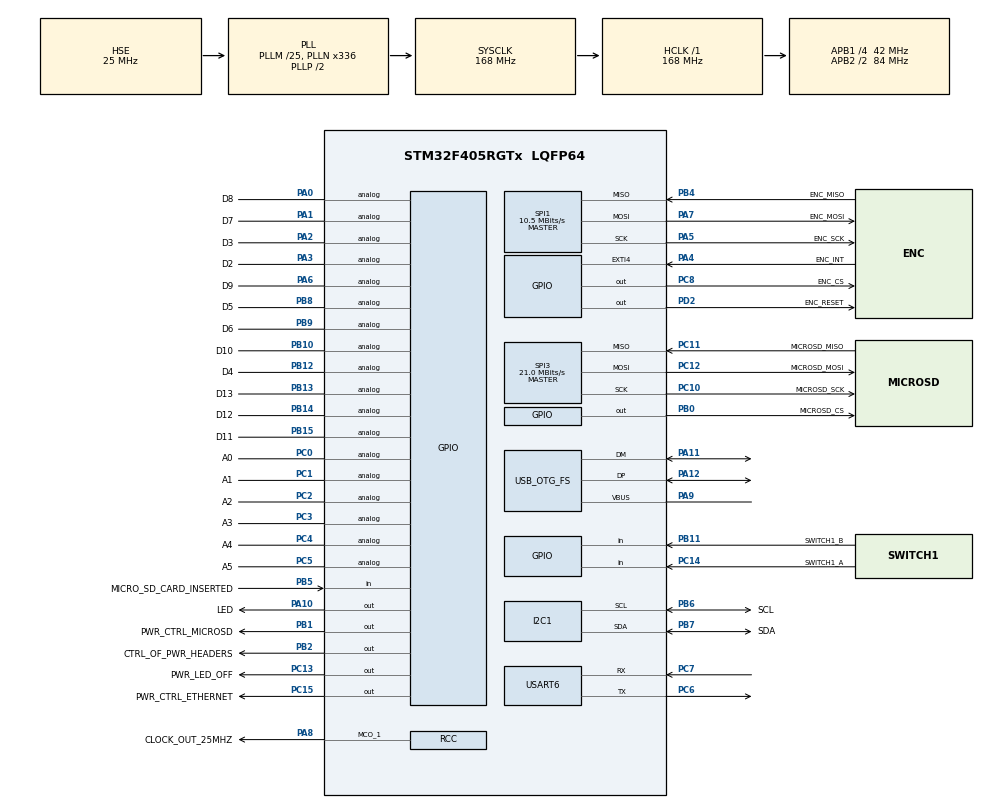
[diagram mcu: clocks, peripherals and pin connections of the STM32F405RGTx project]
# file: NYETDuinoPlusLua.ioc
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FATFS._CODE_PAGE=437
FATFS._FS_TINY=1
FATFS._USE_LFN=3
FATFS._USE_MKFS=1
FATFS._USE_STRFUNC=2
FREERTOS.INCLUDE_uxTaskGetStackHighWaterMark=1
FREERTOS.MEMORY_ALLOCATION=2
FREERTOS.Tasks01=defaultTask,0,1024,StartDefaultTask,Default,NULL,Static,defaultTaskBuffer,defaultTaskControlBlock
FREERTOS.configCHECK_FOR_STACK_OVERFLOW=2
FREERTOS.configTOTAL_HEAP_SIZE=65536
FREERTOS.configUSE_MALLOC_FAILED_HOOK=1
Mcu.Family=STM32F4
Mcu.Name=STM32F405RGTx
Mcu.Package=LQFP64
NVIC.OTG_FS_IRQn=true\:5\:0\:false\:false\:true\:true\:true
NVIC.PriorityGroup=NVIC_PRIORITYGROUP_4
NVIC.TIM6_DAC_IRQn=true\:0\:0\:false\:false\:true\:false\:true
NVIC.TimeBase=TIM6_DAC_IRQn
NVIC.TimeBaseIP=TIM6
NVIC.USART6_IRQn=true\:5\:0\:false\:false\:true\:true\:true
PA0-WKUP.GPIO_Label=D8
PA0-WKUP.Signal=GPIO_Analog
PA1.GPIO_Label=D7
PA1.Signal=GPIO_Analog
PA10.GPIO_Label=LED
PA10.Signal=GPIO_Output
PA11.Mode=Device_Only
PA11.Signal=USB_OTG_FS_DM
PA12.Mode=Device_Only
PA12.Signal=USB_OTG_FS_DP
PA13.Mode=JTAG_4_pins
PA13.Signal=SYS_JTMS-SWDIO
PA14.Mode=JTAG_4_pins
PA14.Signal=SYS_JTCK-SWCLK
PA15.Mode=JTAG_4_pins
PA15.Signal=SYS_JTDI
PA2.GPIO_Label=D3
PA2.Signal=GPIO_Analog
PA3.GPIO_Label=D2
PA3.Signal=GPIO_Analog
PA4.GPIO_Label=ENC_INT
PA4.GPIO_ModeDefaultEXTI=GPIO_MODE_IT_FALLING
PA4.Signal=GPXTI4
PA5.GPIO_Label=ENC_SCK
PA5.Mode=Full_Duplex_Master
PA5.Signal=SPI1_SCK
PA6.GPIO_Label=D9
PA6.Signal=GPIO_Analog
PA7.GPIO_Label=ENC_MOSI
PA7.Mode=Full_Duplex_Master
PA7.Signal=SPI1_MOSI
PA8.GPIO_Label=CLOCK_OUT_25MHZ
PA8.Mode=Clock-out-1
PA8.Signal=RCC_MCO_1
PA9.Mode=Activate_VBUS
PA9.Signal=USB_OTG_FS_VBUS
PB0.GPIO_Label=MICROSD_CS
PB0.PinState=GPIO_PIN_SET
PB0.Signal=GPIO_Output
PB1.GPIO_Label=PWR_CTRL_MICROSD
PB1.PinState=GPIO_PIN_SET
PB1.Signal=GPIO_Output
PB10.GPIO_Label=D10
PB10.Signal=GPIO_Analog
PB11.GPIO_Label=SWITCH1_B
PB11.Signal=GPIO_Input
PB12.GPIO_Label=D4
PB12.Signal=GPIO_Analog
PB13.GPIO_Label=D13
PB13.Signal=GPIO_Analog
PB14.GPIO_Label=D12
PB14.Signal=GPIO_Analog
PB15.GPIO_Label=D11
PB15.Signal=GPIO_Analog
PB2.GPIO_Label=CTRL_OF_PWR_HEADERS
PB2.Signal=GPIO_Output
PB3.Mode=JTAG_4_pins
PB3.Signal=SYS_JTDO-SWO
PB4.GPIO_Label=ENC_MISO
PB4.Mode=Full_Duplex_Master
PB4.Signal=SPI1_MISO
PB5.GPIO_Label=MICRO_SD_CARD_INSERTED
PB5.Signal=GPIO_Input
PB6.GPIO_Label=SCL
PB6.Mode=I2C
PB6.Signal=I2C1_SCL
PB7.GPIO_Label=SDA
PB7.Mode=I2C
PB7.Signal=I2C1_SDA
PB8.GPIO_Label=D5
PB8.Signal=GPIO_Analog
PB9.GPIO_Label=D6
PB9.Signal=GPIO_Analog
PC0.GPIO_Label=A0
PC0.Signal=GPIO_Analog
PC1.GPIO_Label=A1
PC1.Signal=GPIO_Analog
PC10.GPIO_Label=MICROSD_SCK
PC10.Mode=Full_Duplex_Master
PC10.Signal=SPI3_SCK
PC11.GPIO_Label=MICROSD_MISO
PC11.Mode=Full_Duplex_Master
PC11.Signal=SPI3_MISO
PC12.GPIO_Label=MICROSD_MOSI
PC12.Mode=Full_Duplex_Master
PC12.Signal=SPI3_MOSI
PC13-ANTI_TAMP.GPIO_Label=PWR_LED_OFF
PC13-ANTI_TAMP.Signal=GPIO_Output
PC14-OSC32_IN.GPIO_Label=SWITCH1_A
PC14-OSC32_IN.Signal=GPIO_Input
PC15-OSC32_OUT.GPIO_Label=PWR_CTRL_ETHERNET
PC15-OSC32_OUT.PinState=GPIO_PIN_SET
PC15-OSC32_OUT.Signal=GPIO_Output
PC2.GPIO_Label=A2
PC2.Signal=GPIO_Analog
PC3.GPIO_Label=A3
PC3.Signal=GPIO_Analog
PC4.GPIO_Label=A4
PC4.Signal=GPIO_Analog
PC5.GPIO_Label=A5
PC5.Signal=GPIO_Analog
PC6.Mode=Asynchronous
PC6.Signal=USART6_TX
PC7.Mode=Asynchronous
PC7.Signal=USART6_RX
PC8.GPIO_Label=ENC_CS
PC8.PinState=GPIO_PIN_SET
PC8.Signal=GPIO_Output
PD2.GPIO_Label=ENC_RESET
PD2.PinState=GPIO_PIN_SET
PD2.Signal=GPIO_Output
PH0-OSC_IN.Mode=HSE-External-Oscillator
PH0-OSC_IN.Signal=RCC_OSC_IN
PH1-OSC_OUT.Mode=HSE-External-Oscillator
PH1-OSC_OUT.Signal=RCC_OSC_OUT
ProjectManager.HeapSize=0x200
ProjectManager.StackSize=0x400
ProjectManager.TargetToolchain=SW4STM32
RCC.48MHZClocksFreq_Value=48000000
RCC.AHBFreq_Value=168000000
RCC.APB1CLKDivider=RCC_HCLK_DIV4
RCC.APB1Freq_Value=42000000
RCC.APB1TimFreq_Value=84000000
RCC.APB2CLKDivider=RCC_HCLK_DIV2
RCC.APB2Freq_Value=84000000
RCC.APB2TimFreq_Value=168000000
RCC.CortexFreq_Value=168000000
RCC.HCLKFreq_Value=168000000
RCC.HSE_VALUE=25000000
RCC.HSI_VALUE=16000000
RCC.LSE_VALUE=32768
RCC.PLLM=25
RCC.PLLN=336
RCC.PLLQ=7
RCC.RCC_MCO1Source=RCC_MCO1SOURCE_HSE
RCC.RCC_RTC_Clock_SourceVirtual=RCC_RTCCLKSOURCE_HSE_DIV25
RCC.RCC_RTC_Clock_Source_FROM_HSE=RCC_RTCCLKSOURCE_HSE_DIV25
RCC.SYSCLKFreq_VALUE=168000000
RCC.SYSCLKSource=RCC_SYSCLKSOURCE_PLLCLK
RCC.VCOOutputFreq_Value=336000000
RTC.Format=RTC_FORMAT_BCD
RTC.Year=18
SPI1.BaudRatePrescaler=SPI_BAUDRATEPRESCALER_8
SPI1.CalculateBaudRate=10.5 MBits/s
SPI1.Direction=SPI_DIRECTION_2LINES
SPI1.Mode=SPI_MODE_MASTER
SPI1.VirtualType=VM_MASTER
SPI3.BaudRatePrescaler=SPI_BAUDRATEPRESCALER_2
SPI3.CalculateBaudRate=21.0 MBits/s
SPI3.Direction=SPI_DIRECTION_2LINES
SPI3.Mode=SPI_MODE_MASTER
SPI3.VirtualType=VM_MASTER
USART6.VirtualMode=VM_ASYNC
USB_DEVICE.CLASS_NAME_FS=CDC
USB_DEVICE.VirtualMode-CDC_FS=Cdc
USB_DEVICE.VirtualModeFS=Cdc_FS
USB_OTG_FS.VirtualMode=Device_Only
VP_FATFS_VS_Generic.Mode=User_defined
VP_FREERTOS_VS_ENABLE.Mode=Enabled
VP_RNG_VS_RNG.Mode=RNG_Activate
VP_RTC_VS_RTC_Activate.Mode=RTC_Enabled
VP_RTC_VS_RTC_Calendar.Mode=RTC_Calendar
VP_SYS_VS_tim6.Mode=TIM6
VP_USB_DEVICE_VS_USB_DEVICE_CDC_FS.Mode=CDC_FS
board=NYETDuinoPlusLua

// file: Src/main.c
/**
  ******************************************************************************
  * File Name          : main.c
  * Description        : Main program body
  ******************************************************************************
  * This notice applies to any and all portions of this file
  * that are not between comment pairs USER CODE BEGIN and
  * USER CODE END. Other portions of this file, whether
  * inserted by the user or by software development tools
  * are owned by their respective copyright owners.
  *
  * Copyright (c) 2018 STMicroelectronics International N.V.
  * All rights reserved.
  *
  * Redistribution and use in source and binary forms, with or without
  * modification, are permitted, provided that the following conditions are met:
  *
  * 1. Redistribution of source code must retain the above copyright notice,
  *    this list of conditions and the following disclaimer.
  * 2. Redistributions in binary form must reproduce the above copyright notice,
  *    this list of conditions and the following disclaimer in the documentation
  *    and/or other materials provided with the distribution.
  * 3. Neither the name of STMicroelectronics nor the names of other
  *    contributors to this software may be used to endorse or promote products
  *    derived from this software without specific written permission.
  * 4. This software, including modifications and/or derivative works of this
  *    software, must execute solely and exclusively on microcontroller or
  *    microprocessor devices manufactured by or for STMicroelectronics.
  * 5. Redistribution and use of this software other than as permitted under
  *    this license is void and will automatically terminate your rights under
  *    this license.
  *
  * THIS SOFTWARE IS PROVIDED BY STMICROELECTRONICS AND CONTRIBUTORS "AS IS"
  * AND ANY EXPRESS, IMPLIED OR STATUTORY WARRANTIES, INCLUDING, BUT NOT
  * LIMITED TO, THE IMPLIED WARRANTIES OF MERCHANTABILITY, FITNESS FOR A
  * PARTICULAR PURPOSE AND NON-INFRINGEMENT OF THIRD PARTY INTELLECTUAL PROPERTY
  * RIGHTS ARE DISCLAIMED TO THE FULLEST EXTENT PERMITTED BY LAW. IN NO EVENT
  * SHALL STMICROELECTRONICS OR CONTRIBUTORS BE LIABLE FOR ANY DIRECT, INDIRECT,
  * INCIDENTAL, SPECIAL, EXEMPLARY, OR CONSEQUENTIAL DAMAGES (INCLUDING, BUT NOT
  * LIMITED TO, PROCUREMENT OF SUBSTITUTE GOODS OR SERVICES; LOSS OF USE, DATA,
  * OR PROFITS; OR BUSINESS INTERRUPTION) HOWEVER CAUSED AND ON ANY THEORY OF
  * LIABILITY, WHETHER IN CONTRACT, STRICT LIABILITY, OR TORT (INCLUDING
  * NEGLIGENCE OR OTHERWISE) ARISING IN ANY WAY OUT OF THE USE OF THIS SOFTWARE,
  * EVEN IF ADVISED OF THE POSSIBILITY OF SUCH DAMAGE.
  *
  ******************************************************************************
  */

#include "main.h"
#include "stm32f4xx_hal.h"
#include "cmsis_os.h"
#include "fatfs.h"
#include "usb_device.h"

/* USER CODE BEGIN Includes */
#include <fcntl.h>

#include "usbd_cdc.h"	//just for the XXX_USBCDC_PresenceHack()

//XXX abandoning newlib approach
//#include "newlib/newlib_device.h"

#include "system_interfaces.h"
#include "serial_devices.h"

//This controls whether we use the FreeRTOS heap implementation to also provide
//the libc malloc() and friends.  Note, if you turn this off, you will want to
//adjust _Min_Heap_Size in the linker script, because it is set to a very low
//value.
#define USE_FREERTOS_HEAP_IMPL 1

#if USE_FREERTOS_HEAP_IMPL

#if configAPPLICATION_ALLOCATED_HEAP
//we define our heap (to be used by FreeRTOS heap_4.c implementation) to be
//exactly where we want it to be.
__attribute__((aligned(8)))
uint8_t ucHeap[ configTOTAL_HEAP_SIZE ];
#endif
//we implemented a 'realloc' for a heap_4 derived implementation
extern void* pvPortRealloc( void* pvOrig, size_t xWantedSize );
//we implemented a 'heapwalk' function
typedef int (*CBK_HEAPWALK) ( void* pblk, uint32_t nBlkSize, int bIsFree );
extern int vPortHeapWalk ( CBK_HEAPWALK pfnWalk );

//'wrapped functions' for library interpositioning
//you must specify these gcc (linker-directed) options to cause the wrappers'
//delights to be generated:

//-Wl,--wrap,malloc -Wl,--wrap,free -Wl,--wrap,realloc -Wl,--wrap,calloc
//-Wl,--wrap,_malloc_r -Wl,--wrap,_free_r -Wl,--wrap,_realloc_r -Wl,--wrap,_calloc_r

//hmm; can I declare these 'inline' and save a little code and stack?
void* __wrap_malloc ( size_t size ) { return pvPortMalloc ( size ); }
void __wrap_free ( void* pv ) { vPortFree ( pv ); }
void* __wrap_realloc ( void* pv, size_t size ) { return pvPortRealloc ( pv, size ); }

void* __wrap__malloc_r ( struct _reent* r, size_t size ) { return pvPortMalloc ( size ); }
void __wrap__free_r ( struct _reent* r, void* pv ) { vPortFree ( pv ); }
void* __wrap__realloc_r ( struct _reent* r, void* pv, size_t size ) { return pvPortRealloc ( pv, size ); }

#endif

#include "lua/lua.h"
#include "lua/lauxlib.h"
#include "lua/lualib.h"

/* USER CODE END Includes */

I2C_HandleTypeDef hi2c1;

RNG_HandleTypeDef hrng;

RTC_HandleTypeDef hrtc;
RTC_TimeTypeDef sTime;
RTC_DateTypeDef sDate;

SPI_HandleTypeDef hspi1;
SPI_HandleTypeDef hspi3;

UART_HandleTypeDef huart6;

osThreadId defaultTaskHandle;
uint32_t defaultTaskBuffer[ 1024 ];
osStaticThreadDef_t defaultTaskControlBlock;

/* USER CODE BEGIN PV */
//spi3 == sd card
//spi1 == enc28j60

/* Private variables ---------------------------------------------------------*/

/* USER CODE END PV */

void SystemClock_Config(void);
static void MX_GPIO_Init(void);
static void MX_RNG_Init(void);
static void MX_SPI1_Init(void);
static void MX_SPI3_Init(void);
static void MX_I2C1_Init(void);
static void MX_RTC_Init(void);
static void MX_USART6_UART_Init(void);
void StartDefaultTask(void const * argument);

/* USER CODE BEGIN PFP */
/* Private function prototypes -----------------------------------------------*/

/* USER CODE END PFP */

/* USER CODE BEGIN 0 */

void led_pwr_off()
{
	HAL_GPIO_WritePin(PWR_LED_OFF_GPIO_Port, PWR_LED_OFF_Pin, GPIO_PIN_RESET);
}
void led_pwr_on()
{
	HAL_GPIO_WritePin(PWR_LED_OFF_GPIO_Port, PWR_LED_OFF_Pin, GPIO_PIN_SET);
}

void led_blu_off()
{
	HAL_GPIO_WritePin(LED_GPIO_Port, LED_Pin, GPIO_PIN_RESET);
}
void led_blu_on()
{
	HAL_GPIO_WritePin(LED_GPIO_Port, LED_Pin, GPIO_PIN_SET);
}

int switch1_read()
{
	//pressed = high
	return GPIO_PIN_SET == HAL_GPIO_ReadPin(SWITCH1_B_GPIO_Port, SWITCH1_B_Pin);
}

int sd_cardpresent_read()
{
	//inserted == low
	return GPIO_PIN_RESET == HAL_GPIO_ReadPin(MICRO_SD_CARD_INSERTED_GPIO_Port, MICRO_SD_CARD_INSERTED_Pin);
}

void sd_cs_active()
{	//active low
	HAL_GPIO_WritePin(MICROSD_CS_GPIO_Port, MICROSD_CS_Pin, GPIO_PIN_RESET);
}
void sd_cs_inactive()
{	//active low
	HAL_GPIO_WritePin(MICROSD_CS_GPIO_Port, MICROSD_CS_Pin, GPIO_PIN_SET);
}

void sd_pwrctl_on()
{	//active low
	HAL_GPIO_WritePin(PWR_CTRL_MICROSD_GPIO_Port, PWR_CTRL_MICROSD_Pin, GPIO_PIN_RESET);
}
void sd_pwrctl_off()
{	//active low
	HAL_GPIO_WritePin(PWR_CTRL_MICROSD_GPIO_Port, PWR_CTRL_MICROSD_Pin, GPIO_PIN_SET);
}

int eth_int_read()
{
	//interrupt == low
	return GPIO_PIN_RESET == HAL_GPIO_ReadPin(ENC_INT_GPIO_Port, ENC_INT_Pin);
}

void eth_cs_active()
{	//active low
	HAL_GPIO_WritePin(ENC_CS_GPIO_Port, ENC_CS_Pin, GPIO_PIN_RESET);
}
void eth_cs_inactive()
{	//active low
	HAL_GPIO_WritePin(ENC_CS_GPIO_Port, ENC_CS_Pin, GPIO_PIN_SET);
}

void eth_reset_active()
{	//active low
	HAL_GPIO_WritePin(ENC_RESET_GPIO_Port, ENC_RESET_Pin, GPIO_PIN_RESET);
}
void eth_reset_inactive()
{	//active low
	HAL_GPIO_WritePin(ENC_RESET_GPIO_Port, ENC_RESET_Pin, GPIO_PIN_SET);
}

void eth_pwrctl_on()
{	//active low
	HAL_GPIO_WritePin(PWR_CTRL_ETHERNET_GPIO_Port, PWR_CTRL_ETHERNET_Pin, GPIO_PIN_RESET);
}
void eth_pwrctl_off()
{	//active low
	HAL_GPIO_WritePin(PWR_CTRL_ETHERNET_GPIO_Port, PWR_CTRL_ETHERNET_Pin, GPIO_PIN_SET);
}

void headers_pwrctl_on()
{	//active high
	HAL_GPIO_WritePin(CTRL_OF_PWR_HEADERS_GPIO_Port, CTRL_OF_PWR_HEADERS_Pin, GPIO_PIN_SET);
}
void headers_pwrctl_off()
{	//active high
	HAL_GPIO_WritePin(CTRL_OF_PWR_HEADERS_GPIO_Port, CTRL_OF_PWR_HEADERS_Pin, GPIO_PIN_RESET);
}

/* USER CODE END 0 */

int main(void)
{

  /* USER CODE BEGIN 1 */
	//enable the core debug cycle counter to be used as a precision timer
	CoreDebug->DEMCR |= CoreDebug_DEMCR_TRCENA_Msk;
	DWT->CYCCNT = 0;
	DWT->CTRL |= DWT_CTRL_CYCCNTENA_Msk;

	//XXX crap! STM32Workbench thinks it's cool to have a global date and time
	//for some reason, and furthermore does not init them in a way that will
	//not assert later on.  Rude.  Does anyone QA this stuff?
	//sTime.
	sDate.Year = 18;
	sDate.Month = 1;
	sDate.Date = 1;
	sDate.WeekDay = 1;	//(does monday=1?)
  /* USER CODE END 1 */

  /* MCU Configuration----------------------------------------------------------*/

  /* Reset of all peripherals, Initializes the Flash interface and the Systick. */
  HAL_Init();

  /* USER CODE BEGIN Init */

	//if you get a linker fail on the following, it is because some manual
	//changes to:
	//  .\Middlewares\ST\STM32_USB_Device_Library\Class\CDC\Inc\usbd_cdc.h
	//  .\Middlewares\ST\STM32_USB_Device_Library\Class\CDC\Src\usbd_cdc.c
	//  .\Src\usbd_cdc_if.c
	//must be applied.  There are backups of those files to help with that.
	//This has to be done manually, because the changes are in tool-generated
	//code that gets overwritten when you re-run STM32CubeMX.  The nature of
	//those changes are such that when they are overwritten, you will still
	//be able to build but stuff won't work at runtime.  This hack will cause
	//the build to fail if you forget to merge those changes back on, thus
	//prompting you to do so.
	//Sorry for the inconvenience, but I don't think there is any better way
	//of making it obvious that this chore simply must be done.
	XXX_USBCDC_PresenceHack();	//this does nothing real; do not delete

  /* USER CODE END Init */

  /* Configure the system clock */
  SystemClock_Config();

  /* Initialize all configured peripherals */
  MX_GPIO_Init();
  MX_RNG_Init();
  MX_SPI1_Init();
  MX_SPI3_Init();
  MX_I2C1_Init();
  MX_RTC_Init();
  MX_USART6_UART_Init();

  /* USER CODE BEGIN 2 */
	//dummy alloc to cause FreeRTOS to initialize heap
	volatile uint8_t* pvDummy = (uint8_t*) malloc ( 10 );
	memset ( (uint8_t*)pvDummy, 0xa5, 10 );
	free ( (void*)pvDummy );

	// Initialize device manager
	//XXX this is static and const, but the devices themselves may need initing

  /* USER CODE END 2 */

  /* Create the thread(s) */
  /* definition and creation of defaultTask */
  osThreadStaticDef(defaultTask, StartDefaultTask, osPriorityNormal, 0, 1024, defaultTaskBuffer, &defaultTaskControlBlock);
  defaultTaskHandle = osThreadCreate(osThread(defaultTask), NULL);

  /* Start scheduler */
  osKernelStart();

  /* We should never get here as control is now taken by the scheduler */

  /* Infinite loop */
  /* USER CODE BEGIN WHILE */
	NVIC_SystemReset();	//not supposed to be here!
//  while (1)
//  {
  /* USER CODE END WHILE */

  /* USER CODE BEGIN 3 */
//  }
  /* USER CODE END 3 */

}

/** System Clock Configuration
*/
void SystemClock_Config(void)
{

  RCC_OscInitTypeDef RCC_OscInitStruct;
  RCC_ClkInitTypeDef RCC_ClkInitStruct;
  RCC_PeriphCLKInitTypeDef PeriphClkInitStruct;

    /**Configure the main internal regulator output voltage
    */
  __HAL_RCC_PWR_CLK_ENABLE();

  __HAL_PWR_VOLTAGESCALING_CONFIG(PWR_REGULATOR_VOLTAGE_SCALE1);

    /**Initializes the CPU, AHB and APB busses clocks
    */
  RCC_OscInitStruct.OscillatorType = RCC_OSCILLATORTYPE_HSE;
  RCC_OscInitStruct.HSEState = RCC_HSE_ON;
  RCC_OscInitStruct.PLL.PLLState = RCC_PLL_ON;
  RCC_OscInitStruct.PLL.PLLSource = RCC_PLLSOURCE_HSE;
  RCC_OscInitStruct.PLL.PLLM = 25;
  RCC_OscInitStruct.PLL.PLLN = 336;
  RCC_OscInitStruct.PLL.PLLP = RCC_PLLP_DIV2;
  RCC_OscInitStruct.PLL.PLLQ = 7;
  if (HAL_RCC_OscConfig(&RCC_OscInitStruct) != HAL_OK)
  {
    _Error_Handler(__FILE__, __LINE__);
  }

    /**Initializes the CPU, AHB and APB busses clocks
    */
  RCC_ClkInitStruct.ClockType = RCC_CLOCKTYPE_HCLK|RCC_CLOCKTYPE_SYSCLK
                              |RCC_CLOCKTYPE_PCLK1|RCC_CLOCKTYPE_PCLK2;
  RCC_ClkInitStruct.SYSCLKSource = RCC_SYSCLKSOURCE_PLLCLK;
  RCC_ClkInitStruct.AHBCLKDivider = RCC_SYSCLK_DIV1;
  RCC_ClkInitStruct.APB1CLKDivider = RCC_HCLK_DIV4;
  RCC_ClkInitStruct.APB2CLKDivider = RCC_HCLK_DIV2;

  if (HAL_RCC_ClockConfig(&RCC_ClkInitStruct, FLASH_LATENCY_5) != HAL_OK)
  {
    _Error_Handler(__FILE__, __LINE__);
  }

  PeriphClkInitStruct.PeriphClockSelection = RCC_PERIPHCLK_RTC;
  PeriphClkInitStruct.RTCClockSelection = RCC_RTCCLKSOURCE_HSE_DIV25;
  if (HAL_RCCEx_PeriphCLKConfig(&PeriphClkInitStruct) != HAL_OK)
  {
    _Error_Handler(__FILE__, __LINE__);
  }

  HAL_RCC_MCOConfig(RCC_MCO1, RCC_MCO1SOURCE_HSE, RCC_MCODIV_1);

    /**Configure the Systick interrupt time
    */
  HAL_SYSTICK_Config(HAL_RCC_GetHCLKFreq()/1000);

    /**Configure the Systick
    */
  HAL_SYSTICK_CLKSourceConfig(SYSTICK_CLKSOURCE_HCLK);

  /* SysTick_IRQn interrupt configuration */
  HAL_NVIC_SetPriority(SysTick_IRQn, 15, 0);
}

/* I2C1 init function */
static void MX_I2C1_Init(void)
{

  hi2c1.Instance = I2C1;
  hi2c1.Init.ClockSpeed = 100000;
  hi2c1.Init.DutyCycle = I2C_DUTYCYCLE_2;
  hi2c1.Init.OwnAddress1 = 0;
  hi2c1.Init.AddressingMode = I2C_ADDRESSINGMODE_7BIT;
  hi2c1.Init.DualAddressMode = I2C_DUALADDRESS_DISABLE;
  hi2c1.Init.OwnAddress2 = 0;
  hi2c1.Init.GeneralCallMode = I2C_GENERALCALL_DISABLE;
  hi2c1.Init.NoStretchMode = I2C_NOSTRETCH_DISABLE;
  if (HAL_I2C_Init(&hi2c1) != HAL_OK)
  {
    _Error_Handler(__FILE__, __LINE__);
  }

}

/* RNG init function */
static void MX_RNG_Init(void)
{

  hrng.Instance = RNG;
  if (HAL_RNG_Init(&hrng) != HAL_OK)
  {
    _Error_Handler(__FILE__, __LINE__);
  }

}

/* RTC init function */
static void MX_RTC_Init(void)
{

    /**Initialize RTC Only
    */
  hrtc.Instance = RTC;
  hrtc.Init.HourFormat = RTC_HOURFORMAT_24;
  hrtc.Init.AsynchPrediv = 127;
  hrtc.Init.SynchPrediv = 255;
  hrtc.Init.OutPut = RTC_OUTPUT_DISABLE;
  hrtc.Init.OutPutPolarity = RTC_OUTPUT_POLARITY_HIGH;
  hrtc.Init.OutPutType = RTC_OUTPUT_TYPE_OPENDRAIN;
  if (HAL_RTC_Init(&hrtc) != HAL_OK)
  {
    _Error_Handler(__FILE__, __LINE__);
  }

    /**Initialize RTC and set the Time and Date
    */
//XXX what is this insufferable junk? q.v. stm32f4xx_hal_rtc.c:653; of course it will assert, dummkopf; it's explicitly set to zero! does anyone test this shit before release? because I am just not convinced.  I waste so much time with this crappy code, on top of this exquisitely slow java based IDE.  It's enough to make me go back to MicroChip PIC32 parts.  Think about it.
/*
  if(HAL_RTCEx_BKUPRead(&hrtc, RTC_BKP_DR0) != 0x32F2){
  if (HAL_RTC_SetTime(&hrtc, &sTime, RTC_FORMAT_BCD) != HAL_OK)
  {
    _Error_Handler(__FILE__, __LINE__);
  }

  if (HAL_RTC_SetDate(&hrtc, &sDate, RTC_FORMAT_BCD) != HAL_OK)
  {
    _Error_Handler(__FILE__, __LINE__);
  }

    HAL_RTCEx_BKUPWrite(&hrtc,RTC_BKP_DR0,0x32F2);
  }
*/

}

/* SPI1 init function */
static void MX_SPI1_Init(void)
{

  /* SPI1 parameter configuration*/
  hspi1.Instance = SPI1;
  hspi1.Init.Mode = SPI_MODE_MASTER;
  hspi1.Init.Direction = SPI_DIRECTION_2LINES;
  hspi1.Init.DataSize = SPI_DATASIZE_8BIT;
  hspi1.Init.CLKPolarity = SPI_POLARITY_LOW;
  hspi1.Init.CLKPhase = SPI_PHASE_1EDGE;
  hspi1.Init.NSS = SPI_NSS_SOFT;
  hspi1.Init.BaudRatePrescaler = SPI_BAUDRATEPRESCALER_8;
  hspi1.Init.FirstBit = SPI_FIRSTBIT_MSB;
  hspi1.Init.TIMode = SPI_TIMODE_DISABLE;
  hspi1.Init.CRCCalculation = SPI_CRCCALCULATION_DISABLE;
  hspi1.Init.CRCPolynomial = 10;
  if (HAL_SPI_Init(&hspi1) != HAL_OK)
  {
    _Error_Handler(__FILE__, __LINE__);
  }

}

/* SPI3 init function */
static void MX_SPI3_Init(void)
{

  /* SPI3 parameter configuration*/
  hspi3.Instance = SPI3;
  hspi3.Init.Mode = SPI_MODE_MASTER;
  hspi3.Init.Direction = SPI_DIRECTION_2LINES;
  hspi3.Init.DataSize = SPI_DATASIZE_8BIT;
  hspi3.Init.CLKPolarity = SPI_POLARITY_LOW;
  hspi3.Init.CLKPhase = SPI_PHASE_1EDGE;
  hspi3.Init.NSS = SPI_NSS_SOFT;
  hspi3.Init.BaudRatePrescaler = SPI_BAUDRATEPRESCALER_2;
  hspi3.Init.FirstBit = SPI_FIRSTBIT_MSB;
  hspi3.Init.TIMode = SPI_TIMODE_DISABLE;
  hspi3.Init.CRCCalculation = SPI_CRCCALCULATION_DISABLE;
  hspi3.Init.CRCPolynomial = 10;
  if (HAL_SPI_Init(&hspi3) != HAL_OK)
  {
    _Error_Handler(__FILE__, __LINE__);
  }

}

/* USART6 init function */
static void MX_USART6_UART_Init(void)
{

  huart6.Instance = USART6;
  huart6.Init.BaudRate = 115200;
  huart6.Init.WordLength = UART_WORDLENGTH_8B;
  huart6.Init.StopBits = UART_STOPBITS_1;
  huart6.Init.Parity = UART_PARITY_NONE;
  huart6.Init.Mode = UART_MODE_TX_RX;
  huart6.Init.HwFlowCtl = UART_HWCONTROL_NONE;
  huart6.Init.OverSampling = UART_OVERSAMPLING_16;
  if (HAL_UART_Init(&huart6) != HAL_OK)
  {
    _Error_Handler(__FILE__, __LINE__);
  }

}

/** Configure pins as
        * Analog
        * Input
        * Output
        * EVENT_OUT
        * EXTI
     PA8   ------> RCC_MCO_1
*/
static void MX_GPIO_Init(void)
{

  GPIO_InitTypeDef GPIO_InitStruct;

  /* GPIO Ports Clock Enable */
  __HAL_RCC_GPIOC_CLK_ENABLE();
  __HAL_RCC_GPIOH_CLK_ENABLE();
  __HAL_RCC_GPIOA_CLK_ENABLE();
  __HAL_RCC_GPIOB_CLK_ENABLE();
  __HAL_RCC_GPIOD_CLK_ENABLE();

  /*Configure GPIO pin Output Level */
  HAL_GPIO_WritePin(PWR_LED_OFF_GPIO_Port, PWR_LED_OFF_Pin, GPIO_PIN_RESET);

  /*Configure GPIO pin Output Level */
  HAL_GPIO_WritePin(GPIOC, PWR_CTRL_ETHERNET_Pin|ENC_CS_Pin, GPIO_PIN_SET);

  /*Configure GPIO pin Output Level */
  HAL_GPIO_WritePin(GPIOB, MICROSD_CS_Pin|PWR_CTRL_MICROSD_Pin, GPIO_PIN_SET);

  /*Configure GPIO pin Output Level */
  HAL_GPIO_WritePin(CTRL_OF_PWR_HEADERS_GPIO_Port, CTRL_OF_PWR_HEADERS_Pin, GPIO_PIN_RESET);

  /*Configure GPIO pin Output Level */
  HAL_GPIO_WritePin(LED_GPIO_Port, LED_Pin, GPIO_PIN_RESET);

  /*Configure GPIO pin Output Level */
  HAL_GPIO_WritePin(ENC_RESET_GPIO_Port, ENC_RESET_Pin, GPIO_PIN_SET);

  /*Configure GPIO pins : PWR_LED_OFF_Pin PWR_CTRL_ETHERNET_Pin ENC_CS_Pin */
  GPIO_InitStruct.Pin = PWR_LED_OFF_Pin|PWR_CTRL_ETHERNET_Pin|ENC_CS_Pin;
  GPIO_InitStruct.Mode = GPIO_MODE_OUTPUT_PP;
  GPIO_InitStruct.Pull = GPIO_NOPULL;
  GPIO_InitStruct.Speed = GPIO_SPEED_FREQ_LOW;
  HAL_GPIO_Init(GPIOC, &GPIO_InitStruct);

  /*Configure GPIO pin : SWITCH1_A_Pin */
  GPIO_InitStruct.Pin = SWITCH1_A_Pin;
  GPIO_InitStruct.Mode = GPIO_MODE_INPUT;
  GPIO_InitStruct.Pull = GPIO_NOPULL;
  HAL_GPIO_Init(SWITCH1_A_GPIO_Port, &GPIO_InitStruct);

  /*Configure GPIO pins : A0_Pin A1_Pin A2_Pin A3_Pin
                           A4_Pin A5_Pin */
  GPIO_InitStruct.Pin = A0_Pin|A1_Pin|A2_Pin|A3_Pin
                          |A4_Pin|A5_Pin;
  GPIO_InitStruct.Mode = GPIO_MODE_ANALOG;
  GPIO_InitStruct.Pull = GPIO_NOPULL;
  HAL_GPIO_Init(GPIOC, &GPIO_InitStruct);

  /*Configure GPIO pins : D8_Pin D7_Pin D3_Pin D2_Pin
                           D9_Pin */
  GPIO_InitStruct.Pin = D8_Pin|D7_Pin|D3_Pin|D2_Pin
                          |D9_Pin;
  GPIO_InitStruct.Mode = GPIO_MODE_ANALOG;
  GPIO_InitStruct.Pull = GPIO_NOPULL;
  HAL_GPIO_Init(GPIOA, &GPIO_InitStruct);

  /*Configure GPIO pin : ENC_INT_Pin */
  GPIO_InitStruct.Pin = ENC_INT_Pin;
  GPIO_InitStruct.Mode = GPIO_MODE_IT_FALLING;
  GPIO_InitStruct.Pull = GPIO_NOPULL;
  HAL_GPIO_Init(ENC_INT_GPIO_Port, &GPIO_InitStruct);

  /*Configure GPIO pins : MICROSD_CS_Pin PWR_CTRL_MICROSD_Pin CTRL_OF_PWR_HEADERS_Pin */
  GPIO_InitStruct.Pin = MICROSD_CS_Pin|PWR_CTRL_MICROSD_Pin|CTRL_OF_PWR_HEADERS_Pin;
  GPIO_InitStruct.Mode = GPIO_MODE_OUTPUT_PP;
  GPIO_InitStruct.Pull = GPIO_NOPULL;
  GPIO_InitStruct.Speed = GPIO_SPEED_FREQ_LOW;
  HAL_GPIO_Init(GPIOB, &GPIO_InitStruct);

  /*Configure GPIO pins : D10_Pin D4_Pin D13_Pin D12_Pin
                           D11_Pin D5_Pin D6_Pin */
  GPIO_InitStruct.Pin = D10_Pin|D4_Pin|D13_Pin|D12_Pin
                          |D11_Pin|D5_Pin|D6_Pin;
  GPIO_InitStruct.Mode = GPIO_MODE_ANALOG;
  GPIO_InitStruct.Pull = GPIO_NOPULL;
  HAL_GPIO_Init(GPIOB, &GPIO_InitStruct);

  /*Configure GPIO pins : SWITCH1_B_Pin MICRO_SD_CARD_INSERTED_Pin */
  GPIO_InitStruct.Pin = SWITCH1_B_Pin|MICRO_SD_CARD_INSERTED_Pin;
  GPIO_InitStruct.Mode = GPIO_MODE_INPUT;
  GPIO_InitStruct.Pull = GPIO_NOPULL;
  HAL_GPIO_Init(GPIOB, &GPIO_InitStruct);

  /*Configure GPIO pin : CLOCK_OUT_25MHZ_Pin */
  GPIO_InitStruct.Pin = CLOCK_OUT_25MHZ_Pin;
  GPIO_InitStruct.Mode = GPIO_MODE_AF_PP;
  GPIO_InitStruct.Pull = GPIO_NOPULL;
  GPIO_InitStruct.Speed = GPIO_SPEED_FREQ_LOW;
  GPIO_InitStruct.Alternate = GPIO_AF0_MCO;
  HAL_GPIO_Init(CLOCK_OUT_25MHZ_GPIO_Port, &GPIO_InitStruct);

  /*Configure GPIO pin : LED_Pin */
  GPIO_InitStruct.Pin = LED_Pin;
  GPIO_InitStruct.Mode = GPIO_MODE_OUTPUT_PP;
  GPIO_InitStruct.Pull = GPIO_NOPULL;
  GPIO_InitStruct.Speed = GPIO_SPEED_FREQ_LOW;
  HAL_GPIO_Init(LED_GPIO_Port, &GPIO_InitStruct);

  /*Configure GPIO pin : ENC_RESET_Pin */
  GPIO_InitStruct.Pin = ENC_RESET_Pin;
  GPIO_InitStruct.Mode = GPIO_MODE_OUTPUT_PP;
  GPIO_InitStruct.Pull = GPIO_NOPULL;
  GPIO_InitStruct.Speed = GPIO_SPEED_FREQ_LOW;
  HAL_GPIO_Init(ENC_RESET_GPIO_Port, &GPIO_InitStruct);

}

/* USER CODE BEGIN 4 */

//====================================================

void vApplicationStackOverflowHook(xTaskHandle xTask, signed char *pcTaskName)
{
	/* Run time stack overflow checking is performed if
	configCHECK_FOR_STACK_OVERFLOW is defined to 1 or 2. This hook function is
	called if a stack overflow is detected. */
	volatile int i = 0;
	(void)i;
}

void vApplicationMallocFailedHook(void)
{
	/* vApplicationMallocFailedHook() will only be called if
	configUSE_MALLOC_FAILED_HOOK is set to 1 in FreeRTOSConfig.h. It is a hook
	function that will get called if a call to pvPortMalloc() fails.
	pvPortMalloc() is called internally by the kernel whenever a task, queue,
	timer or semaphore is created. It is also called by various parts of the
	demo application. If heap_1.c or heap_2.c are used, then the size of the
	heap available to pvPortMalloc() is defined by configTOTAL_HEAP_SIZE in
	FreeRTOSConfig.h, and the xPortGetFreeHeapSize() API function can be used
	to query the size of free heap space that remains (although it does not
	provide information on how the remaining heap might be fragmented). */
	volatile int i = 0;
	(void)i;
}

char buffer[100];

void myprintf(const char *fmt, ...)
{
	va_list args;
	va_start(args, fmt);
	vsnprintf(buffer, sizeof(buffer), fmt, args);
	va_end(args);

	int len = strlen(buffer);
	HAL_UART_Transmit(&huart6, (uint8_t*)buffer, len, 1000);
}

void __filesystem_test ( void )
{
	FRESULT fres;

	//Mount drive
	fres = f_mount(&USERFatFS, "", 1); //1=mount now
	if (fres != FR_OK)
	{
		myprintf("f_mount error (%i)\r\n", fres);
		return;
	}

	DWORD free_clusters, free_sectors, total_sectors;
	FATFS* getFreeFs;
	fres = f_getfree("", &free_clusters, &getFreeFs);
	if (fres != FR_OK)
	{
		myprintf("f_getfree error (%i)\r\n", fres);
		return;
	}

	total_sectors = (getFreeFs->n_fatent - 2) * getFreeFs->csize;
	free_sectors = free_clusters * getFreeFs->csize;

	myprintf("SD card stats:\r\n%10lu KiB total drive space.\r\n%10lu KiB available.\r\n", total_sectors / 2, free_sectors / 2);

	//Try to open file
	fres = f_open(&USERFile, "test.txt", FA_READ);
	if (fres != FR_OK)
	{
		myprintf("f_open error (%i)\r\n");
		return;
	}
	myprintf("I was able to open 'test.txt' for reading!\r\n");

	BYTE readBuf[30];

	//We can either use f_read OR f_gets to get data out of files
	//f_gets is a wrapper on f_read that does some string formatting for us
	TCHAR* rres = f_gets((TCHAR*)readBuf, 30, &USERFile);
	if(rres != 0)
	{
		myprintf("Read string from 'test.txt' contents: %s\r\n", readBuf);
	}
	else
	{
		myprintf("f_gets error (%i)\r\n", fres);
	}

	//Close file, don't forget this!
	f_close(&USERFile);

	fres = f_open(&USERFile, "write.txt", FA_WRITE | FA_OPEN_ALWAYS | FA_CREATE_ALWAYS);
	if(fres == FR_OK)
	{
		myprintf("I was able to open 'write.txt' for writing\r\n");
	}
	else
	{
		myprintf("f_open error (%i)\r\n", fres);
	}

	strncpy((char*)readBuf, "a new file is made!", 19);
	UINT bytesWrote;
	fres = f_write(&USERFile, readBuf, 19, &bytesWrote);
	if(fres == FR_OK)
	{
		myprintf("Wrote %i bytes to 'write.txt'!\r\n", bytesWrote);
	}
	else
	{
		myprintf("f_write error (%i)\r\n");
	}

	//Close file, don't forget this!
	f_close(&USERFile);

	//De-mount drive
	f_mount(NULL, "", 0);
}

/* USER CODE END 4 */

/* StartDefaultTask function */
void StartDefaultTask(void const * argument)
{
  /* init code for USB_DEVICE */
  MX_USB_DEVICE_Init();

  /* init code for FATFS */
  MX_FATFS_Init();

  /* USER CODE BEGIN 5 */

	sd_pwrctl_off();
	osDelay ( 500 );
	sd_pwrctl_on();

	__filesystem_test();

#if 0
#define FCLK_SLOW() { \
	__HAL_SPI_DISABLE(&hspi3); \
	uint16_t nReg = READ_REG(hspi3.Instance->CR1); \
	nReg &= ~ (7<<3); \
	nReg |= SPI_BAUDRATEPRESCALER_128; \
	WRITE_REG(hspi3.Instance->CR1, nReg ); \
	__HAL_SPI_ENABLE(&hspi3); \
}
#define FCLK_FAST() { \
	__HAL_SPI_DISABLE(&hspi3);	\
	uint16_t nReg = READ_REG(hspi3.Instance->CR1);	\
	nReg &= ~ (7<<3);	\
	nReg |= SPI_BAUDRATEPRESCALER_2;	\
	WRITE_REG(hspi3.Instance->CR1, nReg );	\
	__HAL_SPI_ENABLE(&hspi3);	\
}
#define CS_HIGH()	{HAL_GPIO_WritePin(MICROSD_CS_GPIO_Port, MICROSD_CS_Pin, GPIO_PIN_SET);}
#define CS_LOW()	{HAL_GPIO_WritePin(MICROSD_CS_GPIO_Port, MICROSD_CS_Pin, GPIO_PIN_RESET);}

	//FCLK_SLOW();
	FCLK_FAST();
	while ( 1 )
	{
		HAL_StatusTypeDef hret;
		CS_LOW();
		led_blu_on();
		for ( int i = 0; i < 1000; ++i )
		{
			BYTE txDat = 0xf0;
			BYTE rxDat;
			hret = HAL_SPI_TransmitReceive(&hspi3, &txDat, &rxDat, 1, 50);
		}
		CS_HIGH();
		led_blu_off();
		for ( int i = 0; i < 1000; ++i )
		{
			BYTE txDat = 0xcc;
			BYTE rxDat;
			hret = HAL_SPI_TransmitReceive(&hspi3, &txDat, &rxDat, 1, 50);
		}
	}
#endif

	//get our serial ports initialized
	UART6_Init();		//UART 6 == 'COM1'
	USBCDC_Init();		//CDC ==

	volatile UBaseType_t uxMinFreeStack;
	volatile UBaseType_t uxMaxSizeHeap;
	volatile UBaseType_t uxMaxUsedHeap;
	volatile UBaseType_t uxMinFreeHeap;

	uxMinFreeStack = uxTaskGetStackHighWaterMark( NULL );
#if USE_FREERTOS_HEAP_IMPL
	uxMaxSizeHeap = configTOTAL_HEAP_SIZE;
	uxMinFreeHeap = xPortGetMinimumEverFreeHeapSize();
#else
	uxMaxSizeHeap = (char*)platform_get_last_free_ram( 0 ) - (char*)platform_get_first_free_ram( 0 );
#endif

/*//XXX abandoning newlib approach
	//crank up the system; especially for the newlib bottom edge support
	if ( 1 )
	{
		//open ttys0, and redirect stdin/stdout to it; redirect stderr into stdout
//		int hTtyS0 = 0;
		int hTtyS0 = open ( "/ttys0/xxx", O_RDONLY );	//XXX haque, need to fix the dm lookup
		char achFName[64];
		sprintf ( achFName, "/std/%d=%d", STDIN_FILENO, hTtyS0 );	//stdin
		int hStdin = open ( achFName, O_RDONLY );
		sprintf ( achFName, "/std/%d=%d", STDOUT_FILENO, hTtyS0 );	//stdout
		int hStdout = open ( achFName, O_RDONLY );
		sprintf ( achFName, "/std/%d=%d", STDERR_FILENO, STDOUT_FILENO );	//stderr
		int hStderr = open ( achFName, O_RDONLY );
	}
*/

/*//XXX abandoning newlib approach
	if ( 1 )
	{
		char achBuff[128];
		int nEof;
		while ( ! ( nEof = feof ( stdin ) ) )
		{
			char* pchRet = fgets ( achBuff, sizeof(achBuff), stdin );
			if ( NULL != pchRet )
			{
				int nPutRet;
				nPutRet = fputs ( ">>", stdout );
				nPutRet = fputs ( achBuff, stdout );
				nPutRet = fputs ( "\n", stdout );
				fflush ( stdout );
			}
		}
	}
*/

//
{
#if 0
	lua_State* L = luaL_newstate();
	if ( NULL == L )
	{
		//horror;
	}
	else
	{
		int status, result;
		//lua_pushcfunction(L, &pmain);  /* to call 'pmain' in protected mode */
		//lua_pushinteger(L, argc);  /* 1st argument */
		//lua_pushlightuserdata(L, argv); /* 2nd argument */
		//status = lua_pcall(L, 2, 1, 0);  /* do the call */
		result = lua_toboolean(L, -1);  /* get result */
		//report(L, status);
		lua_close(L);
	}
#else
	extern int luashell_main(void);
//	luashell_main();
#endif
}

	uxMinFreeStack = uxTaskGetStackHighWaterMark( NULL );
#if USE_FREERTOS_HEAP_IMPL
	uxMinFreeHeap = xPortGetMinimumEverFreeHeapSize();
	uxMaxUsedHeap = uxMaxSizeHeap - uxMinFreeHeap;
#else
	extern char* heap_ptr;
	uxMaxUsedHeap = heap_ptr - (char*)platform_get_first_free_ram( 0 );
	uxMinFreeHeap = (char*)platform_get_last_free_ram( 0 ) - heap_ptr;
#endif

	//XXX abandoning newlib approach
	//printf ( "minfreestack: %lu words; maxheapused: %lu of %lu (minfree %lu)\n",
	//		uxMinFreeStack, uxMaxUsedHeap, uxMaxSizeHeap, uxMinFreeHeap );

	//heapwalk
	//vPortHeapWalk ( cbkHeapWalk );

	//XXX abandoning newlib approach
	//printf ( "resetting...\n" );
	osDelay ( 500 );	//delay a little to let all that go out before we reset
	NVIC_SystemReset();

  /* Infinite loop */
  for(;;)
  {
    osDelay(1);
  }
  /* USER CODE END 5 */
}

void HAL_TIM_PeriodElapsedCallback(TIM_HandleTypeDef *htim)
{
  if (htim->Instance == TIM6) {
    HAL_IncTick();
  }
/* USER CODE BEGIN Callback 1 */
	//XXX the other timer switches would go here
/* USER CODE END Callback 1 */
}

void _Error_Handler(char * file, int line)
{
  /* USER CODE BEGIN Error_Handler_Debug */
  /* User can add his own implementation to report the HAL error return state */
	volatile int bSpin = 1;
	while(bSpin)
	{
	}
  /* USER CODE END Error_Handler_Debug */
}

#ifdef USE_FULL_ASSERT

/**
   * @brief Reports the name of the source file and the source line number
   * where the assert_param error has occurred.
   * @param file: pointer to the source file name
   * @param line: assert_param error line source number
   * @retval None
   */
void assert_failed(uint8_t* file, uint32_t line)
{
  /* USER CODE BEGIN 6 */
  /* User can add his own implementation to report the file name and line number,
    ex: printf("Wrong parameters value: file %s on line %d\r\n", file, line) */
	volatile int bSpin = 1;
	while(bSpin)
	{
	}
  /* USER CODE END 6 */

}

#endif

/************************ (C) COPYRIGHT STMicroelectronics *****END OF FILE****/

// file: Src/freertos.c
/**
  ******************************************************************************
  * File Name          : freertos.c
  * Description        : Code for freertos applications
  ******************************************************************************
  * This notice applies to any and all portions of this file
  * that are not between comment pairs USER CODE BEGIN and
  * USER CODE END. Other portions of this file, whether
  * inserted by the user or by software development tools
  * are owned by their respective copyright owners.
  *
  * Copyright (c) 2018 STMicroelectronics International N.V.
  * All rights reserved.
  *
  * Redistribution and use in source and binary forms, with or without
  * modification, are permitted, provided that the following conditions are met:
  *
  * 1. Redistribution of source code must retain the above copyright notice,
  *    this list of conditions and the following disclaimer.
  * 2. Redistributions in binary form must reproduce the above copyright notice,
  *    this list of conditions and the following disclaimer in the documentation
  *    and/or other materials provided with the distribution.
  * 3. Neither the name of STMicroelectronics nor the names of other
  *    contributors to this software may be used to endorse or promote products
  *    derived from this software without specific written permission.
  * 4. This software, including modifications and/or derivative works of this
  *    software, must execute solely and exclusively on microcontroller or
  *    microprocessor devices manufactured by or for STMicroelectronics.
  * 5. Redistribution and use of this software other than as permitted under
  *    this license is void and will automatically terminate your rights under
  *    this license.
  *
  * THIS SOFTWARE IS PROVIDED BY STMICROELECTRONICS AND CONTRIBUTORS "AS IS"
  * AND ANY EXPRESS, IMPLIED OR STATUTORY WARRANTIES, INCLUDING, BUT NOT
  * LIMITED TO, THE IMPLIED WARRANTIES OF MERCHANTABILITY, FITNESS FOR A
  * PARTICULAR PURPOSE AND NON-INFRINGEMENT OF THIRD PARTY INTELLECTUAL PROPERTY
  * RIGHTS ARE DISCLAIMED TO THE FULLEST EXTENT PERMITTED BY LAW. IN NO EVENT
  * SHALL STMICROELECTRONICS OR CONTRIBUTORS BE LIABLE FOR ANY DIRECT, INDIRECT,
  * INCIDENTAL, SPECIAL, EXEMPLARY, OR CONSEQUENTIAL DAMAGES (INCLUDING, BUT NOT
  * LIMITED TO, PROCUREMENT OF SUBSTITUTE GOODS OR SERVICES; LOSS OF USE, DATA,
  * OR PROFITS; OR BUSINESS INTERRUPTION) HOWEVER CAUSED AND ON ANY THEORY OF
  * LIABILITY, WHETHER IN CONTRACT, STRICT LIABILITY, OR TORT (INCLUDING
  * NEGLIGENCE OR OTHERWISE) ARISING IN ANY WAY OUT OF THE USE OF THIS SOFTWARE,
  * EVEN IF ADVISED OF THE POSSIBILITY OF SUCH DAMAGE.
  *
  ******************************************************************************
  */

#include "FreeRTOS.h"
#include "task.h"

/* GetIdleTaskMemory prototype (linked to static allocation support) */
void vApplicationGetIdleTaskMemory( StaticTask_t **ppxIdleTaskTCBBuffer, StackType_t **ppxIdleTaskStackBuffer, uint32_t *pulIdleTaskStackSize );

/* Hook prototypes */
void vApplicationStackOverflowHook(xTaskHandle xTask, signed char *pcTaskName);
void vApplicationMallocFailedHook(void);

/* USER CODE BEGIN 4 */
__weak void vApplicationStackOverflowHook(xTaskHandle xTask, signed char *pcTaskName)
{
   /* Run time stack overflow checking is performed if
   configCHECK_FOR_STACK_OVERFLOW is defined to 1 or 2. This hook function is
   called if a stack overflow is detected. */
extern void led_blu_on(void);
led_blu_on();
}
/* USER CODE END 4 */

/* USER CODE BEGIN 5 */
__weak void vApplicationMallocFailedHook(void)
{
   /* vApplicationMallocFailedHook() will only be called if
   configUSE_MALLOC_FAILED_HOOK is set to 1 in FreeRTOSConfig.h. It is a hook
   function that will get called if a call to pvPortMalloc() fails.
   pvPortMalloc() is called internally by the kernel whenever a task, queue,
   timer or semaphore is created. It is also called by various parts of the
   demo application. If heap_1.c or heap_2.c are used, then the size of the
   heap available to pvPortMalloc() is defined by configTOTAL_HEAP_SIZE in
   FreeRTOSConfig.h, and the xPortGetFreeHeapSize() API function can be used
   to query the size of free heap space that remains (although it does not
   provide information on how the remaining heap might be fragmented). */
}
/* USER CODE END 5 */

/* USER CODE BEGIN GET_IDLE_TASK_MEMORY */
static StaticTask_t xIdleTaskTCBBuffer;
static StackType_t xIdleStack[configMINIMAL_STACK_SIZE];

void vApplicationGetIdleTaskMemory( StaticTask_t **ppxIdleTaskTCBBuffer, StackType_t **ppxIdleTaskStackBuffer, uint32_t *pulIdleTaskStackSize )
{
  *ppxIdleTaskTCBBuffer = &xIdleTaskTCBBuffer;
  *ppxIdleTaskStackBuffer = &xIdleStack[0];
  *pulIdleTaskStackSize = configMINIMAL_STACK_SIZE;
  /* place for user code */
}
/* USER CODE END GET_IDLE_TASK_MEMORY */

/************************ (C) COPYRIGHT STMicroelectronics *****END OF FILE****/
